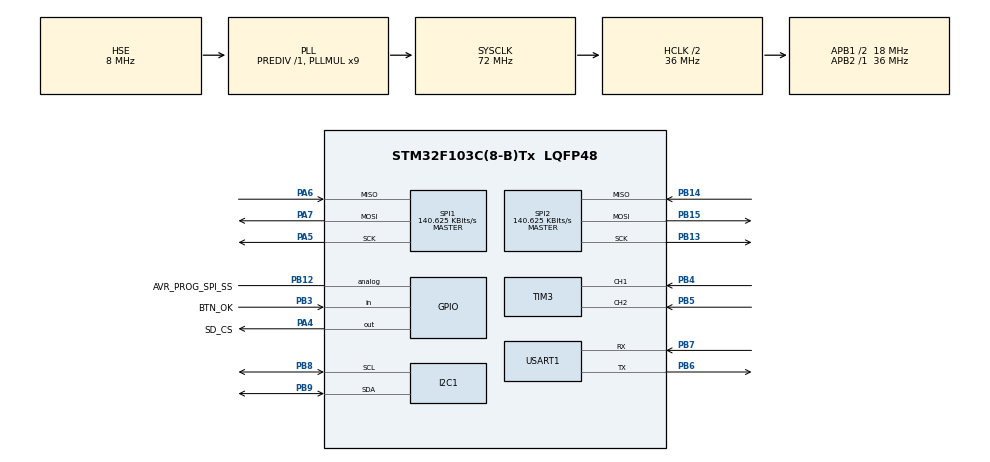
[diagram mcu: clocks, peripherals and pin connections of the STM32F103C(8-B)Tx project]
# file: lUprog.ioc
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Dma.Request0=SPI2_RX
Dma.SPI2_RX.0.Direction=DMA_PERIPH_TO_MEMORY
Dma.SPI2_RX.0.Instance=DMA1_Channel4
Dma.SPI2_RX.0.MemDataAlignment=DMA_MDATAALIGN_BYTE
Dma.SPI2_RX.0.MemInc=DMA_MINC_ENABLE
Dma.SPI2_RX.0.Mode=DMA_NORMAL
Dma.SPI2_RX.0.PeriphDataAlignment=DMA_PDATAALIGN_BYTE
Dma.SPI2_RX.0.PeriphInc=DMA_PINC_DISABLE
Dma.SPI2_RX.0.Priority=DMA_PRIORITY_LOW
FATFS._MAX_LFN=32
FATFS._USE_LFN=1
Mcu.Family=STM32F1
Mcu.Name=STM32F103C(8-B)Tx
Mcu.Package=LQFP48
NVIC.DMA1_Channel4_IRQn=true\:0\:0\:false\:false\:true\:false\:true
NVIC.PriorityGroup=NVIC_PRIORITYGROUP_4
NVIC.TIM2_IRQn=true\:0\:0\:false\:false\:true\:true\:true
PA13.Mode=Serial_Wire
PA13.Signal=SYS_JTMS-SWDIO
PA14.Mode=Serial_Wire
PA14.Signal=SYS_JTCK-SWCLK
PA4.GPIO_Label=SD_CS
PA4.GPIO_Speed=GPIO_SPEED_FREQ_HIGH
PA4.PinState=GPIO_PIN_SET
PA4.Signal=GPIO_Output
PA5.Mode=Full_Duplex_Master
PA5.Signal=SPI1_SCK
PA6.GPIO_PuPd=GPIO_NOPULL
PA6.Mode=Full_Duplex_Master
PA6.Signal=SPI1_MISO
PA7.Mode=Full_Duplex_Master
PA7.Signal=SPI1_MOSI
PB12.GPIO_Label=AVR_PROG_SPI_SS
PB12.Signal=GPIO_Analog
PB13.Mode=Full_Duplex_Master
PB13.Signal=SPI2_SCK
PB14.Mode=Full_Duplex_Master
PB14.Signal=SPI2_MISO
PB15.Mode=Full_Duplex_Master
PB15.Signal=SPI2_MOSI
PB3.GPIO_Label=BTN_OK
PB3.GPIO_PuPd=GPIO_NOPULL
PB3.Signal=GPIO_Input
PB4.Signal=S_TIM3_CH1
PB5.Signal=S_TIM3_CH2
PB6.Mode=Asynchronous
PB6.Signal=USART1_TX
PB7.Mode=Asynchronous
PB7.Signal=USART1_RX
PB8.Mode=I2C
PB8.Signal=I2C1_SCL
PB9.Mode=I2C
PB9.Signal=I2C1_SDA
PD0-OSC_IN.Mode=HSE-External-Oscillator
PD0-OSC_IN.Signal=RCC_OSC_IN
PD1-OSC_OUT.Mode=HSE-External-Oscillator
PD1-OSC_OUT.Signal=RCC_OSC_OUT
ProjectManager.HeapSize=0x200
ProjectManager.StackSize=0x400
ProjectManager.TargetToolchain=STM32CubeIDE
RCC.AHBCLKDivider=RCC_SYSCLK_DIV2
RCC.AHBFreq_Value=36000000
RCC.APB1CLKDivider=RCC_HCLK_DIV2
RCC.APB1Freq_Value=18000000
RCC.APB1TimFreq_Value=36000000
RCC.APB2Freq_Value=36000000
RCC.APB2TimFreq_Value=36000000
RCC.HCLKFreq_Value=36000000
RCC.PLLMUL=RCC_PLL_MUL9
RCC.PLLSourceVirtual=RCC_PLLSOURCE_HSE
RCC.SYSCLKFreq_VALUE=72000000
RCC.SYSCLKSource=RCC_SYSCLKSOURCE_PLLCLK
RCC.USBFreq_Value=48000000
RCC.USBPrescaler=RCC_USBCLKSOURCE_PLL_DIV1_5
SH.S_TIM3_CH1.0=TIM3_CH1,Encoder_Interface
SH.S_TIM3_CH2.0=TIM3_CH2,Encoder_Interface
SPI1.BaudRatePrescaler=SPI_BAUDRATEPRESCALER_256
SPI1.CalculateBaudRate=140.625 KBits/s
SPI1.Direction=SPI_DIRECTION_2LINES
SPI1.Mode=SPI_MODE_MASTER
SPI1.VirtualType=VM_MASTER
SPI2.BaudRatePrescaler=SPI_BAUDRATEPRESCALER_128
SPI2.CalculateBaudRate=140.625 KBits/s
SPI2.Direction=SPI_DIRECTION_2LINES
SPI2.Mode=SPI_MODE_MASTER
SPI2.VirtualType=VM_MASTER
TIM2.Period=10
TIM2.Prescaler=39999
TIM3.EncoderMode=TIM_ENCODERMODE_TI12
USART1.VirtualMode=VM_ASYNC
VP_FATFS_VS_Generic.Mode=User_defined
VP_TIM2_VS_ClockSourceINT.Mode=Internal
board=custom

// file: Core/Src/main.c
/* USER CODE BEGIN Header */
/**
 ******************************************************************************
 * @file           : main.c
 * @brief          : Main program body
 ******************************************************************************
 * @attention
 *
 * <h2><center>&copy; Copyright (c) 2025 STMicroelectronics.
 * All rights reserved.</center></h2>
 *
 * This software component is licensed by ST under Ultimate Liberty license
 * SLA0044, the "License"; You may not use this file except in compliance with
 * the License. You may obtain a copy of the License at:
 *                             www.st.com/SLA0044
 *
 ******************************************************************************
 */
/* USER CODE END Header */
#include "main.h"
#include "fatfs.h"

/* USER CODE BEGIN Includes */
#include "mcu.h"
#include "AVR_Programmer.h"

#include "ssd1306.h"
#include "ssd1306_fonts.h"
#include "ssd1306_tests.h"

#include <stdbool.h>
#include <string.h>

#include "encBtn.h"

/* USER CODE END Includes */

I2C_HandleTypeDef hi2c1;

SPI_HandleTypeDef hspi1;
SPI_HandleTypeDef hspi2;
DMA_HandleTypeDef hdma_spi2_rx;

TIM_HandleTypeDef htim2;
TIM_HandleTypeDef htim3;

UART_HandleTypeDef huart1;

void SystemClock_Config(void);
static void MX_GPIO_Init(void);
static void MX_SPI1_Init(void);
static void MX_SPI2_Init(void);
static void MX_DMA_Init(void);
static void MX_USART1_UART_Init(void);
static void MX_TIM2_Init(void);
static void MX_I2C1_Init(void);
static void MX_TIM3_Init(void);
/* USER CODE BEGIN PFP */

void ssd1306_WriteMultiLineString(char* str, uint8_t x, uint8_t y) {
    uint8_t start_x = x;

    ssd1306_SetCursor(x, y);

    while (*str) {
        if (*str == '\n') {
            x = start_x;        // Возврат к началу строки
            y += 10;            // Смещение вниз на высоту шрифта + интервал
            ssd1306_SetCursor(x, y);
        }
        else {
            if (ssd1306_WriteChar(*str, Font_6x8, White) != *str) {
                return;
            }
            x += 6;
        }
        str++;
    }
}

void temp_callback(uint16_t maxVal, uint16_t curVal){
  static uint8_t oldProcent = 255;
  static uint8_t procent;
  static char buf[4];

  if (curVal > maxVal) curVal = maxVal;
  procent =  (curVal * 100) / maxVal;

  if(procent % 10 == 0 && procent != oldProcent){
	DEBUG_PRINTF("PROGRESS: %d\n", procent);
    oldProcent = procent;

    if (procent == 100) {
        buf[0] = '1';
        buf[1] = '0';
        buf[2] = '0';
        buf[3] = '\0';
    } else if (procent == 0) {
        buf[0] = '0';
        buf[1] = '\0';
    } else {
        buf[0] = (procent / 10) + '0';
        buf[1] = '0';
        buf[2] = '\0';
    }

    ssd1306_DrawRectangle(13, 15, 114, 35, White);

	ssd1306_FillRectangle(13, 15, 13 + procent, 35, White);
	ssd1306_SetCursor(50, 40);

	ssd1306_WriteString(buf, Font_11x18, White);
	ssd1306_WriteString("%", Font_11x18, White);

    ssd1306_UpdateScreen();
  }
}
void temp_err_cb(const char* err_type, char* message){
  DEBUG_PRINTF("\n");
  DEBUG_PRINTF(err_type);
  DEBUG_PRINTF(message);
  DEBUG_PRINTF("\n");

  ssd1306_Fill(Black);
  ssd1306_FillRectangle(10, 0, 117, 10, White);
  ssd1306_SetCursor(35, 2);
  ssd1306_WriteString(err_type, Font_6x8, Black);

  ssd1306_WriteMultiLineString(message, 10, 20);
  ssd1306_UpdateScreen();

}
void temp_sucs_cb(){
	DEBUG_PRINTF("SUCCESS FINISHED!\n");
	ssd1306_Fill(Black);
	ssd1306_SetCursor(20, 25);
	ssd1306_WriteString("SACCESS!!", Font_11x18, White);
	ssd1306_UpdateScreen();
	HAL_Delay(500);
}
/* USER CODE END PFP */

/* USER CODE BEGIN 0 */

FATFS fileSystem;
FIL firmware;

button_t btnOK;
encoder_t encoder;

static const avp_init_t avrprog = {
	.prog_cb = temp_callback,
	.err_cb = &temp_err_cb,
	.sucs_cb = &temp_sucs_cb,
	.hspi = &hspi2,
	.CS_Pin = AVR_PROG_SPI_SS_Pin,
	.CS_Port = AVR_PROG_SPI_SS_GPIO_Port
};

avp_param_t param;
avp_spi_conf spiConf = {
	.sck_auto = false,
	.sck_div = SPI_BAUDRATEPRESCALER_64
};
avp_action avpAction;

typedef enum{
	MAIN_SCREEN,
	SET_MCU,
	SET_ACTION,
	SET_FILE,
	ACTION
}menu_t;

menu_t menuState = MAIN_SCREEN;
bool firstInState = 1;

char* const FILE_LIST[] = {
  "BL_1.BIN",
  "EMPTY.BIN",
  "LCD_EXAMPLE.BIN",
  "READ.BIN"
};

#define FILE_LIST_NUM (sizeof(FILE_LIST) / sizeof(FILE_LIST[0]))

void changeMenu(menu_t state){
	DEBUG_PRINTF("CHANGE MENU STATE: %d -> %d\n", (uint8_t)menuState, (uint8_t)state);
	menuState = state;
	firstInState = 1;
}

void menuTick(){
	static char mcuName[16];
	static bool updateScreen;
	static uint8_t cursor;
	static uint8_t topIndx;

	switch(menuState){
	case MAIN_SCREEN:
		if(firstInState){
			firstInState = 0;
			ssd1306_Fill(Black);
			ssd1306_SetCursor(30, 10);
			ssd1306_WriteString("lUprog", Font_11x18, White);
			ssd1306_FillRectangle(10, 35, 117, 60, White);
			ssd1306_SetCursor(35, 39);
			ssd1306_WriteString("START", Font_11x18, Black);
			ssd1306_UpdateScreen();
		}
		if(btnIsClick(&btnOK)) changeMenu(SET_ACTION);
		break;

	case SET_ACTION:
		if(firstInState){
			firstInState = 0;
			updateScreen = 1;
			cursor = 0;

			ssd1306_Fill(Black);
			ssd1306_FillRectangle(10, 0, 117, 10, White);
			ssd1306_SetCursor(35, 2);
			ssd1306_WriteString("SET ACTION", Font_6x8, Black);
			ssd1306_SetCursor(18, 18);
			ssd1306_WriteString("READ", Font_6x8, White);
			ssd1306_SetCursor(18, 30);
			ssd1306_WriteString("WRITE", Font_6x8, White);
			ssd1306_SetCursor(18, 42);
			ssd1306_WriteString("VERIFY", Font_6x8, White);
			ssd1306_UpdateScreen();
		}

		if(updateScreen){
		  updateScreen = 0;
		  ssd1306_FillRectangle(0, 12, 16, 127, Black);

		  switch(cursor){
			case 0:
			  ssd1306_SetCursor(10, 18);
			  avpAction = ACT_FL_READ;
			  break;
			case 1:
			  ssd1306_SetCursor(10, 30);
			  avpAction = ACT_FL_WRITE;
			  break;

			case 2:
			  ssd1306_SetCursor(10, 42);
			  avpAction = ACT_FL_VERIFY;
			  break;
		  }
		  ssd1306_WriteString(">", Font_6x8, White);
		  ssd1306_UpdateScreen();
		}

		if(btnIsClick(&btnOK)){
			changeMenu(SET_MCU);
			DEBUG_PRINTF("SET_ACTION: %d\n", (uint8_t) avpAction);
		}

		if(encIsCCW(&encoder) && cursor < 2){
		  cursor++;
		  updateScreen = 1;
		}
		if(encIsCW(&encoder) && cursor > 0){
		  cursor--;
		  updateScreen = 1;
		}
		break;

	case SET_MCU:
		if(firstInState){
			firstInState = 0;
			ssd1306_Fill(Black);
			if(!openChipList()){
				ssd1306_SetCursor(0, 26);
				ssd1306_WriteString("ERR_OPEN_MCU", Font_11x18, White);
				ssd1306_UpdateScreen();
				while(1);
			}
			updateScreen = 1;

			ssd1306_Fill(Black);
			ssd1306_FillRectangle(10, 0, 117, 10, White);
			ssd1306_SetCursor(35, 2);
			ssd1306_WriteString("SELECT MCU", Font_6x8, Black);

		}
		if(updateScreen){
			updateScreen = 0;
			param.mcu = getChip();
			memcpy(mcuName, param.mcu->chip_name, sizeof(param.mcu->chip_name));
			mcuName[15] = 0;

			ssd1306_FillRectangle(0, 25, 127, 43, Black);
			ssd1306_SetCursor(10, 25);
			ssd1306_WriteString(">", Font_11x18, White);
			ssd1306_SetCursor(25, 30);
			ssd1306_WriteString(mcuName, Font_6x8, White);
			ssd1306_UpdateScreen();
		}
		if(btnIsClick(&btnOK)){
			closeChipList();
			changeMenu(SET_FILE);
			DEBUG_PRINTF("SET MCU: ");
			DEBUG_PRINTF(mcuName);
			DEBUG_PRINTF("\n");
		}
		if(encIsCW(&encoder)) {
			incChip();
			updateScreen = 1;
		}
		if(encIsCCW(&encoder)) {
			decChip();
			updateScreen = 1;
		}

		break;

	case SET_FILE:

		if(firstInState){
			firstInState = 0;
			updateScreen = 1;
			topIndx = 0;
			cursor = 0;

			ssd1306_Fill(Black);
			ssd1306_FillRectangle(3, 0, 117, 10, White);
			ssd1306_SetCursor(40, 2);
			ssd1306_WriteString("SET FILE", Font_6x8, Black);
			ssd1306_UpdateScreen();
		}
		if(updateScreen){
		  updateScreen = 0;
		  ssd1306_FillRectangle(0, 12, 127, 63, Black);

		  for(uint8_t i = 0; i < 3; i++){
			  int fileIdx = topIndx + i;
			  if(fileIdx < FILE_LIST_NUM){
                  ssd1306_SetCursor(18, 18 + (i * 12));
                  ssd1306_WriteString(FILE_LIST[fileIdx], Font_6x8, White);
                  if(i == (cursor - topIndx)){
                	  ssd1306_SetCursor(10, 18 + (i * 12));
                	  ssd1306_WriteString(">", Font_6x8, White);
                  }
			  }
		  }
		  ssd1306_UpdateScreen();
		}
	    if(btnIsClick(&btnOK)){
	    	param.path = FILE_LIST[cursor];
	    	DEBUG_PRINTF("SET FILE: ");
	    	DEBUG_PRINTF(FILE_LIST[cursor]);
	    	DEBUG_PRINTF("\n");
			changeMenu(ACTION);
		}

	    if(encIsCCW(&encoder) && cursor < FILE_LIST_NUM - 1){
	      cursor++;
	      updateScreen = 1;
	      if(cursor - topIndx >= 3) topIndx++;
	    }
	    if(encIsCW(&encoder) && cursor > 0){
	      cursor--;
	      updateScreen = 1;
	      if(cursor < topIndx) topIndx--;
	    }
		break;

	case ACTION:
		ssd1306_Fill(Black);
		ssd1306_SetCursor(40, 23);
		ssd1306_WriteString("GO!!!", Font_11x18, White);
		ssd1306_UpdateScreen();
		HAL_Delay(500);

		ssd1306_Fill(Black);
		ssd1306_UpdateScreen();

		AVP_Execute(avpAction, &param);

		while(!btnIsClick(&btnOK)) btnTick(&btnOK);
		changeMenu(MAIN_SCREEN);

		break;
	}
}

/* USER CODE END 0 */

int main(void)
{

  /* MCU Configuration--------------------------------------------------------*/

  /* Reset of all peripherals, Initializes the Flash interface and the Systick. */
  HAL_Init();

  /* Configure the system clock */
  SystemClock_Config();

  /* Initialize all configured peripherals */
  MX_GPIO_Init();
  MX_SPI1_Init();
  MX_SPI2_Init();
  MX_DMA_Init();
  MX_USART1_UART_Init();
  MX_TIM2_Init();
  MX_FATFS_Init();
  MX_I2C1_Init();
  MX_TIM3_Init();
  /* USER CODE BEGIN 2 */
  FATFS fs;
  FRESULT fres;

  DEBUG_INIT(&huart1);
  DEBUG_PRINTF(" \n");

  init_btn(&btnOK,BTN_OK_GPIO_Port, BTN_OK_Pin, true, 1);
  init_enc(&encoder, &htim3);

  ssd1306_Init();
  ssd1306_SetContrast(255);
  ssd1306_Fill(Black);
  ssd1306_UpdateScreen();

  if(!AVP_Init(&avrprog)){
    DEBUG_PRINTF("AVR Programmer not init!");
    while(1);
  }

  fres = f_mount(&fs, "", 1);
  if(fres != FR_OK){
	DEBUG_PRINTF("SD MOUNT_ERR code: %d", fres);
	ssd1306_SetCursor(0, 26);
	ssd1306_WriteString("SD_MOUNT_ER", Font_11x18, White);
	ssd1306_UpdateScreen();

	while(1);
  }
  DEBUG_PRINTF("SD MOUNTED\n");

  AVP_Set_SPI(&spiConf);

//  AVP_Execute(ACT_FL_WRITE, &param); // Пишем
//
//  AVP_Execute(ACT_FL_VERIFY, &param); // Верификация
//
//  param.path = "READ.BIN";
//  AVP_Execute(ACT_FL_READ, &param); // Читение

  /* USER CODE END 2 */

  /* Infinite loop */
  /* USER CODE BEGIN WHILE */
	while (1) {
		btnTick(&btnOK);
		encTick(&encoder);
		menuTick();
    /* USER CODE END WHILE */

	}
}

void SystemClock_Config(void)
{
  RCC_OscInitTypeDef RCC_OscInitStruct = {0};
  RCC_ClkInitTypeDef RCC_ClkInitStruct = {0};

  /** Initializes the RCC Oscillators according to the specified parameters
  * in the RCC_OscInitTypeDef structure.
  */
  RCC_OscInitStruct.OscillatorType = RCC_OSCILLATORTYPE_HSE;
  RCC_OscInitStruct.HSEState = RCC_HSE_ON;
  RCC_OscInitStruct.HSEPredivValue = RCC_HSE_PREDIV_DIV1;
  RCC_OscInitStruct.HSIState = RCC_HSI_ON;
  RCC_OscInitStruct.PLL.PLLState = RCC_PLL_ON;
  RCC_OscInitStruct.PLL.PLLSource = RCC_PLLSOURCE_HSE;
  RCC_OscInitStruct.PLL.PLLMUL = RCC_PLL_MUL9;
  if (HAL_RCC_OscConfig(&RCC_OscInitStruct) != HAL_OK)
  {
    Error_Handler();
  }
  /** Initializes the CPU, AHB and APB buses clocks
  */
  RCC_ClkInitStruct.ClockType = RCC_CLOCKTYPE_HCLK|RCC_CLOCKTYPE_SYSCLK
                              |RCC_CLOCKTYPE_PCLK1|RCC_CLOCKTYPE_PCLK2;
  RCC_ClkInitStruct.SYSCLKSource = RCC_SYSCLKSOURCE_PLLCLK;
  RCC_ClkInitStruct.AHBCLKDivider = RCC_SYSCLK_DIV2;
  RCC_ClkInitStruct.APB1CLKDivider = RCC_HCLK_DIV2;
  RCC_ClkInitStruct.APB2CLKDivider = RCC_HCLK_DIV1;

  if (HAL_RCC_ClockConfig(&RCC_ClkInitStruct, FLASH_LATENCY_2) != HAL_OK)
  {
    Error_Handler();
  }
}

static void MX_I2C1_Init(void)
{

  hi2c1.Instance = I2C1;
  hi2c1.Init.ClockSpeed = 100000;
  hi2c1.Init.DutyCycle = I2C_DUTYCYCLE_2;
  hi2c1.Init.OwnAddress1 = 0;
  hi2c1.Init.AddressingMode = I2C_ADDRESSINGMODE_7BIT;
  hi2c1.Init.DualAddressMode = I2C_DUALADDRESS_DISABLE;
  hi2c1.Init.OwnAddress2 = 0;
  hi2c1.Init.GeneralCallMode = I2C_GENERALCALL_DISABLE;
  hi2c1.Init.NoStretchMode = I2C_NOSTRETCH_DISABLE;
  if (HAL_I2C_Init(&hi2c1) != HAL_OK)
  {
    Error_Handler();
  }

}

static void MX_SPI1_Init(void)
{

  /* SPI1 parameter configuration*/
  hspi1.Instance = SPI1;
  hspi1.Init.Mode = SPI_MODE_MASTER;
  hspi1.Init.Direction = SPI_DIRECTION_2LINES;
  hspi1.Init.DataSize = SPI_DATASIZE_8BIT;
  hspi1.Init.CLKPolarity = SPI_POLARITY_LOW;
  hspi1.Init.CLKPhase = SPI_PHASE_1EDGE;
  hspi1.Init.NSS = SPI_NSS_SOFT;
  hspi1.Init.BaudRatePrescaler = SPI_BAUDRATEPRESCALER_256;
  hspi1.Init.FirstBit = SPI_FIRSTBIT_MSB;
  hspi1.Init.TIMode = SPI_TIMODE_DISABLE;
  hspi1.Init.CRCCalculation = SPI_CRCCALCULATION_DISABLE;
  hspi1.Init.CRCPolynomial = 10;
  if (HAL_SPI_Init(&hspi1) != HAL_OK)
  {
    Error_Handler();
  }

}

static void MX_SPI2_Init(void)
{

  /* SPI2 parameter configuration*/
  hspi2.Instance = SPI2;
  hspi2.Init.Mode = SPI_MODE_MASTER;
  hspi2.Init.Direction = SPI_DIRECTION_2LINES;
  hspi2.Init.DataSize = SPI_DATASIZE_8BIT;
  hspi2.Init.CLKPolarity = SPI_POLARITY_LOW;
  hspi2.Init.CLKPhase = SPI_PHASE_1EDGE;
  hspi2.Init.NSS = SPI_NSS_SOFT;
  hspi2.Init.BaudRatePrescaler = SPI_BAUDRATEPRESCALER_128;
  hspi2.Init.FirstBit = SPI_FIRSTBIT_MSB;
  hspi2.Init.TIMode = SPI_TIMODE_DISABLE;
  hspi2.Init.CRCCalculation = SPI_CRCCALCULATION_DISABLE;
  hspi2.Init.CRCPolynomial = 10;
  if (HAL_SPI_Init(&hspi2) != HAL_OK)
  {
    Error_Handler();
  }

}

static void MX_TIM2_Init(void)
{

  TIM_ClockConfigTypeDef sClockSourceConfig = {0};
  TIM_MasterConfigTypeDef sMasterConfig = {0};

  htim2.Instance = TIM2;
  htim2.Init.Prescaler = 39999;
  htim2.Init.CounterMode = TIM_COUNTERMODE_UP;
  htim2.Init.Period = 10;
  htim2.Init.ClockDivision = TIM_CLOCKDIVISION_DIV1;
  htim2.Init.AutoReloadPreload = TIM_AUTORELOAD_PRELOAD_DISABLE;
  if (HAL_TIM_Base_Init(&htim2) != HAL_OK)
  {
    Error_Handler();
  }
  sClockSourceConfig.ClockSource = TIM_CLOCKSOURCE_INTERNAL;
  if (HAL_TIM_ConfigClockSource(&htim2, &sClockSourceConfig) != HAL_OK)
  {
    Error_Handler();
  }
  sMasterConfig.MasterOutputTrigger = TIM_TRGO_RESET;
  sMasterConfig.MasterSlaveMode = TIM_MASTERSLAVEMODE_DISABLE;
  if (HAL_TIMEx_MasterConfigSynchronization(&htim2, &sMasterConfig) != HAL_OK)
  {
    Error_Handler();
  }

}

static void MX_TIM3_Init(void)
{

  TIM_Encoder_InitTypeDef sConfig = {0};
  TIM_MasterConfigTypeDef sMasterConfig = {0};

  htim3.Instance = TIM3;
  htim3.Init.Prescaler = 0;
  htim3.Init.CounterMode = TIM_COUNTERMODE_UP;
  htim3.Init.Period = 65535;
  htim3.Init.ClockDivision = TIM_CLOCKDIVISION_DIV1;
  htim3.Init.AutoReloadPreload = TIM_AUTORELOAD_PRELOAD_DISABLE;
  sConfig.EncoderMode = TIM_ENCODERMODE_TI12;
  sConfig.IC1Polarity = TIM_ICPOLARITY_RISING;
  sConfig.IC1Selection = TIM_ICSELECTION_DIRECTTI;
  sConfig.IC1Prescaler = TIM_ICPSC_DIV1;
  sConfig.IC1Filter = 0;
  sConfig.IC2Polarity = TIM_ICPOLARITY_RISING;
  sConfig.IC2Selection = TIM_ICSELECTION_DIRECTTI;
  sConfig.IC2Prescaler = TIM_ICPSC_DIV1;
  sConfig.IC2Filter = 0;
  if (HAL_TIM_Encoder_Init(&htim3, &sConfig) != HAL_OK)
  {
    Error_Handler();
  }
  sMasterConfig.MasterOutputTrigger = TIM_TRGO_RESET;
  sMasterConfig.MasterSlaveMode = TIM_MASTERSLAVEMODE_DISABLE;
  if (HAL_TIMEx_MasterConfigSynchronization(&htim3, &sMasterConfig) != HAL_OK)
  {
    Error_Handler();
  }

}

static void MX_USART1_UART_Init(void)
{

  huart1.Instance = USART1;
  huart1.Init.BaudRate = 115200;
  huart1.Init.WordLength = UART_WORDLENGTH_8B;
  huart1.Init.StopBits = UART_STOPBITS_1;
  huart1.Init.Parity = UART_PARITY_NONE;
  huart1.Init.Mode = UART_MODE_TX_RX;
  huart1.Init.HwFlowCtl = UART_HWCONTROL_NONE;
  huart1.Init.OverSampling = UART_OVERSAMPLING_16;
  if (HAL_UART_Init(&huart1) != HAL_OK)
  {
    Error_Handler();
  }

}

static void MX_DMA_Init(void)
{

  /* DMA controller clock enable */
  __HAL_RCC_DMA1_CLK_ENABLE();

  /* DMA interrupt init */
  /* DMA1_Channel4_IRQn interrupt configuration */
  HAL_NVIC_SetPriority(DMA1_Channel4_IRQn, 0, 0);
  HAL_NVIC_EnableIRQ(DMA1_Channel4_IRQn);

}

static void MX_GPIO_Init(void)
{
  GPIO_InitTypeDef GPIO_InitStruct = {0};

  /* GPIO Ports Clock Enable */
  __HAL_RCC_GPIOD_CLK_ENABLE();
  __HAL_RCC_GPIOA_CLK_ENABLE();
  __HAL_RCC_GPIOB_CLK_ENABLE();

  /*Configure GPIO pin Output Level */
  HAL_GPIO_WritePin(SD_CS_GPIO_Port, SD_CS_Pin, GPIO_PIN_SET);

  /*Configure GPIO pin : SD_CS_Pin */
  GPIO_InitStruct.Pin = SD_CS_Pin;
  GPIO_InitStruct.Mode = GPIO_MODE_OUTPUT_PP;
  GPIO_InitStruct.Pull = GPIO_NOPULL;
  GPIO_InitStruct.Speed = GPIO_SPEED_FREQ_HIGH;
  HAL_GPIO_Init(SD_CS_GPIO_Port, &GPIO_InitStruct);

  /*Configure GPIO pin : AVR_PROG_SPI_SS_Pin */
  GPIO_InitStruct.Pin = AVR_PROG_SPI_SS_Pin;
  GPIO_InitStruct.Mode = GPIO_MODE_ANALOG;
  HAL_GPIO_Init(AVR_PROG_SPI_SS_GPIO_Port, &GPIO_InitStruct);

  /*Configure GPIO pin : BTN_OK_Pin */
  GPIO_InitStruct.Pin = BTN_OK_Pin;
  GPIO_InitStruct.Mode = GPIO_MODE_INPUT;
  GPIO_InitStruct.Pull = GPIO_NOPULL;
  HAL_GPIO_Init(BTN_OK_GPIO_Port, &GPIO_InitStruct);

}

void Error_Handler(void)
{
	__disable_irq();
	while (1) {
	}
}

/************************ (C) COPYRIGHT STMicroelectronics *****END OF FILE****/
